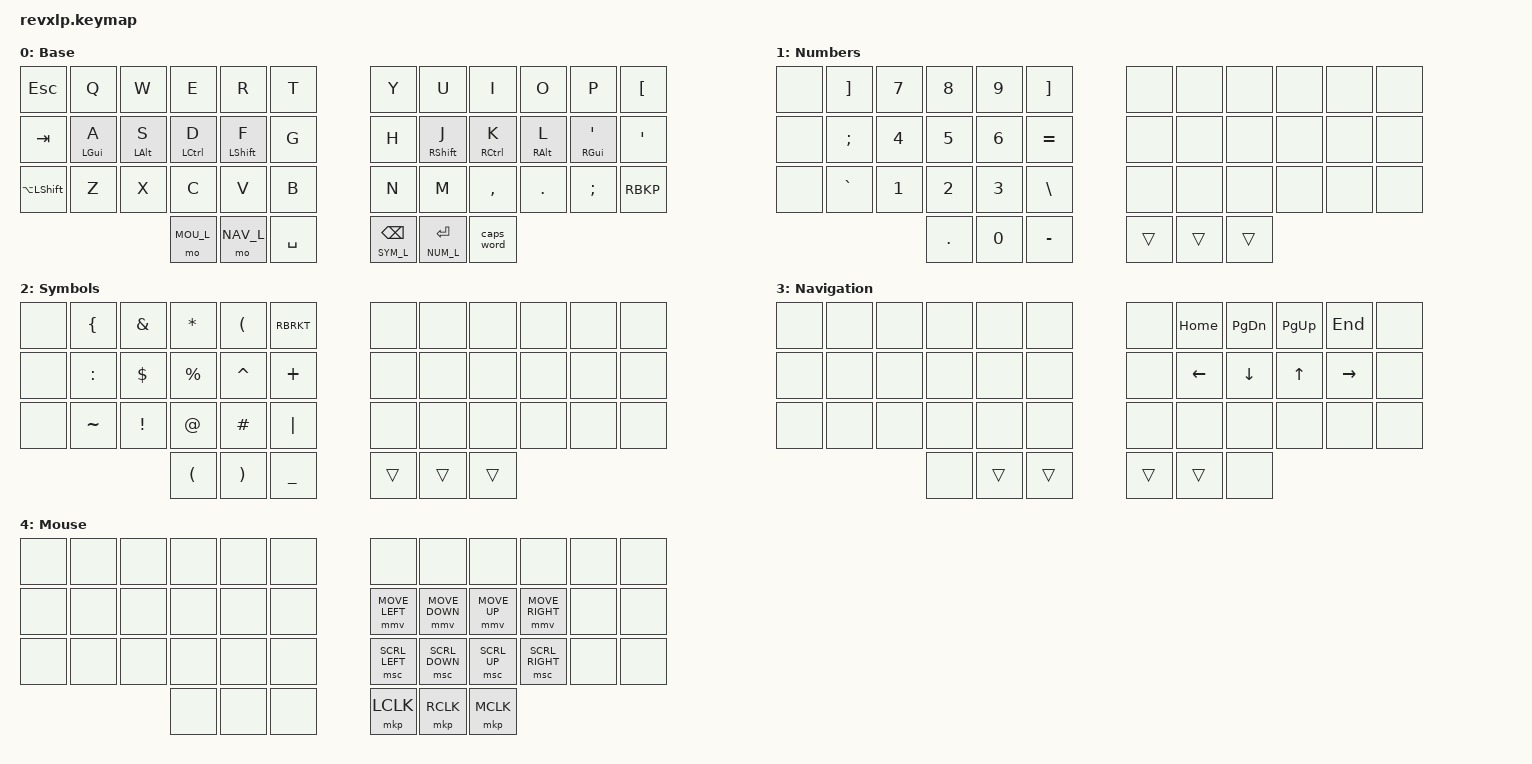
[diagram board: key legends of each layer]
/*
 * Copyright (c) 2020 The ZMK Contributors
 *
 * SPDX-License-Identifier: MIT
 */

#include <behaviors.dtsi>
#include <dt-bindings/zmk/keys.h>
#include <dt-bindings/zmk/bt.h>
#include <dt-bindings/zmk/backlight.h>
#include <dt-bindings/zmk/pointing.h>

#define NUM_L 1
#define SYM_L 2
#define NAV_L 3
#define MOU_L 4

/ {
    keymap {
        compatible = "zmk,keymap";

        qwerty_layer {
            display-name = "Base";
            bindings = <
       &kp ESC        &kp Q        &kp W        &kp E         &kp R          &kp T         &kp Y        &kp U            &kp I            &kp O         &kp P           &kp LBKT
       &kp TAB        &mt LGUI A   &mt LALT S   &mt LCTRL D   &mt LSHIFT F   &kp G         &kp H        &mt RSHIFT J     &mt RCTRL K      &mt RALT L    &mt RGUI QUOT   &kp APOS
       &kp LA(LSHFT)  &kp Z        &kp X        &kp C         &kp V          &kp B         &kp N        &kp M            &kp COMMA        &kp DOT       &kp SEMI        &kp RBKP
                                                &mo MOU_L     &mo NAV_L      &kp SPACE     &lt SYM_L BSPC   &lt NUM_L ENTER  &caps_word
            >;
        };

        num_layer {
            display-name = "Numbers";
            bindings = <
       &none         &kp RBKT   &kp N7   &kp N8   &kp N9       &kp RBKT       &none        &none       &none   &none   &none    &none
       &none         &kp SEMI   &kp N4   &kp N5   &kp N6       &kp EQUAL      &none        &none       &none   &none   &none    &none
       &none         &kp GRAVE  &kp N1   &kp N2   &kp N3       &kp BSLH       &none        &none       &none   &none   &none    &none
                                         &kp DOT  &kp N0       &kp MINUS      &trans        &trans       &trans
            >;
        };

        sym_layer {
            display-name = "Symbols";
            bindings = <
       &none         &kp LBRC   &kp AMPS     &kp STAR    &kp LPAR       &kp RBRKT     &none        &none       &none      &none     &none &none
       &none         &kp COLON  &kp DLLR     &kp PRCNT   &kp CARET      &kp PLUS      &none        &none       &none      &none     &none &none
       &none         &kp TILDE  &kp EXCL     &kp AT      &kp HASH       &kp PIPE      &none        &none       &none      &none     &none &none
                                             &kp LPAR    &kp RPAR       &kp UNDER     &trans        &trans       &trans
            >;
        };

        nav_layer {
            display-name = "Navigation";
            bindings = <
       &none         &none     &none     &none      &none          &none       &none           &kp HOME     &kp PG_DN     &kp PG_UP  &kp END     &none
       &none         &none     &none     &none      &none          &none       &none           &kp LEFT     &kp DOWN      &kp UP     &kp RIGHT   &none
       &none         &none     &none     &none      &none          &none       &none           &none        &none         &none      &none       &none
                                         &none      &trans         &trans      &trans          &trans       &none
            >;
        };

        mou_layer {
            display-name = "Mouse";
            bindings = <
       &none         &none     &none     &none      &none          &none       &none           &none           &none          &none             &none &none
       &none         &none     &none     &none      &none          &none       &mmv MOVE_LEFT  &mmv MOVE_DOWN  &mmv MOVE_UP   &mmv MOVE_RIGHT   &none &none
       &none         &none     &none     &none      &none          &none       &msc SCRL_LEFT  &msc SCRL_DOWN  &msc SCRL_UP   &msc SCRL_RIGHT   &none &none
                                         &none      &none          &none       &mkp LCLK       &mkp RCLK       &mkp MCLK
            >;
        };
    };
};
